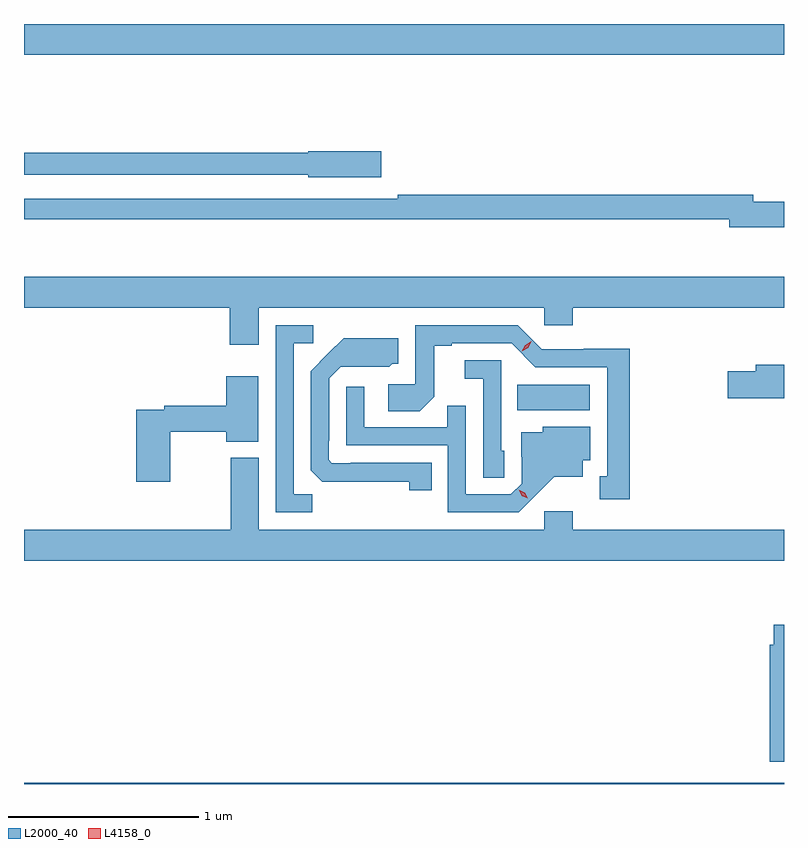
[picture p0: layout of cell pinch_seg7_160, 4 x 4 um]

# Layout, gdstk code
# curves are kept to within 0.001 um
import gdstk
lib = gdstk.Library(unit=1e-6, precision=1e-09)
def R(c, l, rs):  # rectangles x0, y0, x1, y1
    for r in rs: c.add(gdstk.rectangle(r[:2], r[2:], *l))
def P(c, l, *ps):  # polygons
    for p in ps: c.add(gdstk.Polygon(p, *l))
L2000_40 = (2000, 40)
L4158_0 = (4158, 0)

pinch_seg7_160 = lib.new_cell('pinch_seg7_160')
R(pinch_seg7_160, L2000_40, [(1028.543,998.109,1032.543,998.116), (1031.14,1000.076,1031.521,1000.21), (1028.543,1001.948,1032.543,1002.109)])
P(pinch_seg7_160, L2000_40, [(1030.423,1001.438),(1030.038,1001.438),(1030.038,1001.432),(1028.543,1001.432),(1028.543,1001.316),(1030.038,1001.316),(1030.038,1001.303),(1030.423,1001.303)],
  [(1032.543,1001.174),(1032.382,1001.174),(1032.382,1001.21),(1030.51,1001.21),(1030.51,1001.19),(1028.543,1001.19),(1028.543,1001.082),(1032.254,1001.082),(1032.254,1001.039),(1032.543,1001.039)],
  [(1029.778,1000.616),(1031.28,1000.616),(1031.28,1000.523),(1031.432,1000.523),(1031.432,1000.616),(1032.543,1000.616),(1032.543,1000.78),(1028.543,1000.78),(1028.543,1000.616),(1029.626,1000.616),(1029.626,1000.422),(1029.778,1000.422)],
  [(1031.731,1000.4),(1031.49,1000.4),(1031.49,1000.398),(1031.268,1000.398),(1031.142,1000.524),(1030.602,1000.524),(1030.602,1000.212),(1030.461,1000.212),(1030.461,1000.072),(1030.625,1000.072),(1030.701,1000.148),(1030.701,1000.416),(1030.795,1000.416),(1030.795,1000.428),(1031.109,1000.428),(1031.235,1000.302),(1031.612,1000.302),(1031.612,999.729),(1031.573,999.729),(1031.573,999.609),(1031.731,999.609)],
  [(1030.059,999.635),(1029.963,999.635),(1029.963,1000.428),(1030.066,1000.428),(1030.066,1000.524),(1029.867,1000.524),(1029.867,999.54),(1030.059,999.54)],
  [(1030.688,999.801),(1030.264,999.801),(1030.264,999.798),(1030.164,999.798),(1030.146,999.816),(1030.146,999.916),(1030.149,999.916),(1030.149,1000.245),(1030.209,1000.305),(1030.466,1000.304),(1030.482,1000.32),(1030.513,1000.32),(1030.513,1000.456),(1030.225,1000.456),(1030.053,1000.282),(1030.053,999.76),(1030.112,999.701),(1030.57,999.7),(1030.57,999.654),(1030.688,999.654)],
  [(1031.07,999.864),(1031.055,999.864),(1031.055,1000.338),(1030.863,1000.338),(1030.863,1000.241),(1030.959,1000.241),(1030.959,999.721),(1031.07,999.721)],
  [(1032.543,1000.315),(1032.395,1000.315),(1032.395,1000.281),(1032.246,1000.281),(1032.246,1000.139),(1032.543,1000.139)],
  [(1029.312,999.964),(1029.608,999.964),(1029.608,999.911),(1029.775,999.911),(1029.775,1000.255),(1029.608,1000.255),(1029.608,1000.1),(1029.28,1000.1),(1029.28,1000.08),(1029.134,1000.08),(1029.134,999.699),(1029.312,999.699)],
  [(1031.23,999.623),(1031.333,999.725),(1031.485,999.725),(1031.485,999.812),(1031.524,999.812),(1031.524,999.988),(1031.274,999.988),(1031.274,999.961),(1031.159,999.961),(1031.159,999.832),(1031.163,999.832),(1031.163,999.69),(1031.106,999.633),(1030.869,999.633),(1030.869,1000.1),(1030.771,1000.1),(1030.771,999.987),(1030.335,999.987),(1030.335,1000.201),(1030.239,1000.201),(1030.239,999.891),(1030.773,999.891),(1030.773,999.54),(1031.146,999.54)],
  [(1032.543,999.448),(1031.432,999.448),(1031.432,999.544),(1031.28,999.544),(1031.28,999.448),(1029.778,999.448),(1029.778,999.826),(1029.631,999.826),(1029.631,999.448),(1028.543,999.448),(1028.543,999.284),(1032.543,999.284)],
  [(1032.543,998.947),(1032.488,998.947),(1032.488,998.843),(1032.469,998.843),(1032.469,998.226),(1032.543,998.226)])
P(pinch_seg7_160, L4158_0, [(1031.164,1000.387),(1031.164,1000.387),(1031.182,1000.419),(1031.214,1000.438),(1031.214,1000.438),(1031.214,1000.437),(1031.196,1000.405),(1031.164,1000.387)],
  [(1031.195,999.613),(1031.164,999.627),(1031.147,999.657),(1031.147,999.657),(1031.147,999.657),(1031.178,999.642),(1031.195,999.613),(1031.195,999.613)])

lib.write_gds('pinch_seg7_160.gds')
